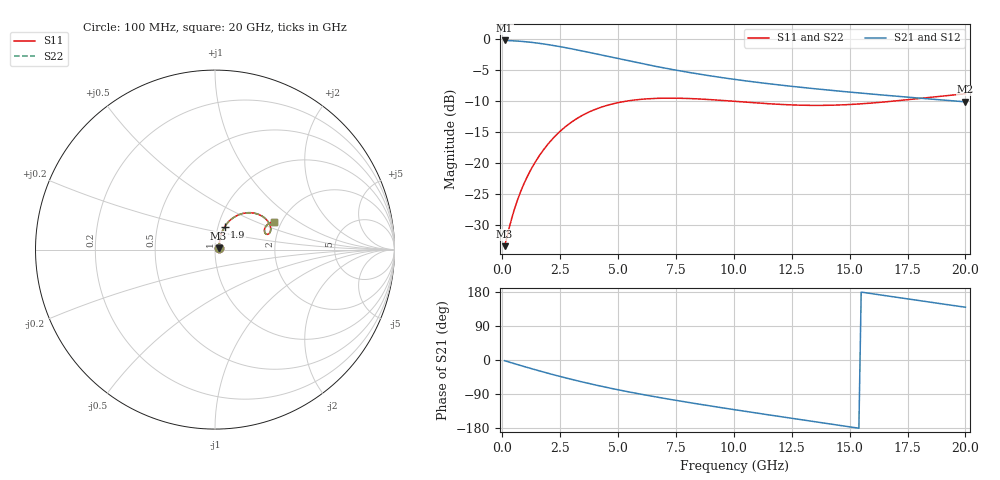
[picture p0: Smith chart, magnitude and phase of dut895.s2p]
! Touchstone file exported from HFSS 2024.1.0
!  File:  C:/UserFiles/LocalFiles/RDL_TSV_Batchsim/temp_RDL_TSV_895_1779933445.aedt
!  Generated:  10:13:59 AM May 28, 2026
!  Design:  RDL_TSV
!  Project:  temp_RDL_TSV_895_1779933445
!  Setup:  Setup1
!  Solution:  Sweep
! Variables:
!  dtsv = 6.88um
!  hbump = 3um
!  htsv = 83.18um
!  ldown = 563.56um
!  lrdl = 359.62um
!  p = 40
!  p1 = 52.52um
!  rhole = 10um
!  subl = 3129.16um
!  t = 450um
!  tdown = 3.81um
!  trdl = 3.04um
!  viad = 10um
!  wdown = 14.8um
!  wrdl = 20.36um
!  xbump = 18um
# GHz S MA R 50.000000
! Terminal data exported
! Port[1] = TM1_1_T1
! Port[2] = TM1_4_T1
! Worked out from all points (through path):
!   200 points, 100 MHz to 20 GHz, reference 50 ohm
!   highest |S21| = -0.18 dB at 100 MHz (marker M1); lowest = -10.1 dB at 20 GHz (marker M2)
!   group delay of S21, straight-line fit = 28.8 ps
!   lowest |S11| = -33.4 dB at 100 MHz (marker M3), VSWR 1.04, Z = 52 + j0.755 ohm
!   |S11| at or under -10 dB: start of sweep to 5.322 GHz; 10.01 GHz to 16.82 GHz (6.809 GHz wide, 50.8 % of centre)
!   |S22| runs from -33.4 to -8.8 dB; largest |S21 - S12| = 8.5e-15
!   S11 on the Smith chart (normalised r, x): 100 MHz: 1.04, +0.02; 1.9 GHz: 1.08, +0.28; 20 GHz: 1.83, +0.65
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0.1  0.02137 19.8  0.9797 -1.9  0.9797 -1.9  0.02137 19.8
! Gamma 0 0 0 0
! Port Impedance 50 0 50 0
0.5  0.04108 55.2  0.9727 -9.3  0.9727 -9.3  0.04108 55.2
0.7  0.05307 61.4  0.9673 -12.9  0.9673 -12.9  0.05307 61.4
0.9  0.06585 65.0  0.9607 -16.5  0.9607 -16.5  0.06585 65.0
1.1  0.07929 67.0  0.9529 -20.0  0.9529 -20.0  0.07928 67.1
1.4  0.1004 68.2  0.9391 -25.3  0.9391 -25.3  0.1004 68.2
1.9  0.1371 67.1  0.9115 -33.8  0.9115 -33.8  0.1372 67.1
2.3  0.1667 64.6  0.8862 -40.3  0.8862 -40.3  0.1667 64.7
2.7  0.1952 61.4  0.8592 -46.7  0.8592 -46.7  0.1953 61.4
3.5  0.2457 53.9  0.8023 -58.6  0.8023 -58.6  0.2458 53.9
4.2  0.2803 47.2  0.7527 -68.3  0.7527 -68.3  0.2805 47.2
5.1  0.3109 39.2  0.6925 -79.8  0.6925 -79.8  0.3112 39.3
5.9  0.3267 33.1  0.6442 -89.3  0.6442 -89.3  0.3271 33.2
6.8  0.3344 27.4  0.5965 -99.2  0.5965 -99.2  0.3349 27.5
8.3  0.3314 20.6  0.5315 -114.6  0.5315 -114.6  0.3321 20.7
10.1  0.3153 16.6  0.4731 -131.8  0.4731 -131.8  0.3162 16.6
11.7  0.3005 16.4  0.4338 -146.6  0.4338 -146.6  0.3015 16.4
13.4  0.2929 18.9  0.4008 -162.0  0.4008 -162.0  0.294 18.8
15  0.2976 22.1  0.3751 -176.4  0.3751 -176.4  0.2986 22.0
16.7  0.3147 24.9  0.3515 168.4  0.3515 168.4  0.3155 24.8
18.4  0.3392 25.9  0.3306 153.3  0.3306 153.3  0.3399 25.8
20  0.3637 25.3  0.3129 139.3  0.3129 139.3  0.3642 25.1
